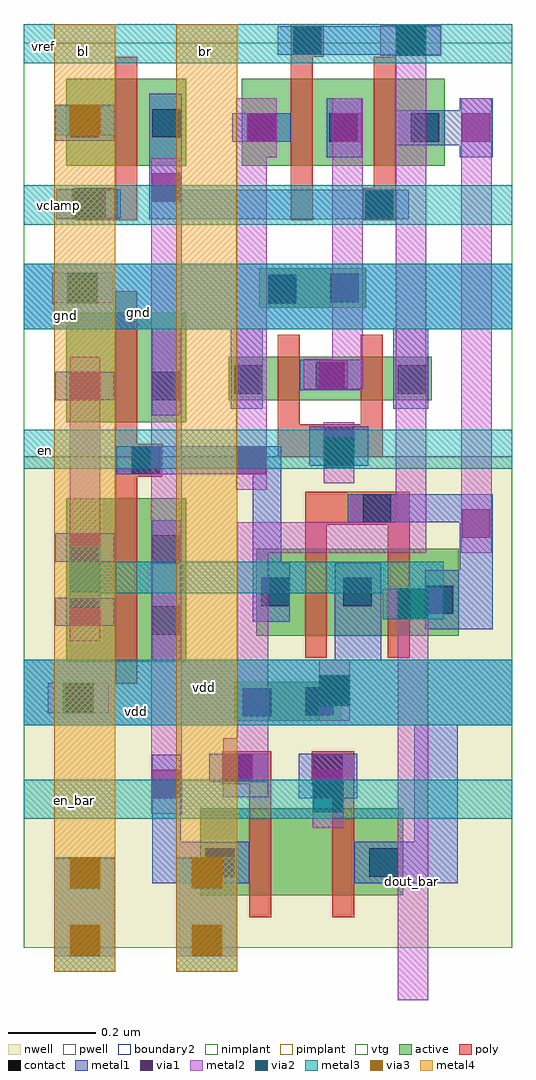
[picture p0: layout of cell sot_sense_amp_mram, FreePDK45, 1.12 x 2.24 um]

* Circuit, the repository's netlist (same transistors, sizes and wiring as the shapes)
************************************************************************
* auCdl Netlist:
* 
* Library Name:  openram_sot
* Top Cell Name: sot_sense_amp_mram
* View Name:     schematic
* Netlisted on:  Apr  6 03:05:37 2021
************************************************************************

*.EQUATION
*.SCALE METER
*.MEGA
.PARAM



************************************************************************
* Library Name: openram_sot
* Cell Name:    sot_sense_amp_mram
* View Name:    schematic
************************************************************************

.SUBCKT sot_sense_amp_mram bl br dout_bar en en_bar gnd vclamp vdd vref
MM5 vdata vclamp bl gnd NMOS_VTG W=200n L=50n m=1
MM9 net10 en gnd gnd NMOS_VTG W=200n L=50n m=1
MM10 net11 vdata net10 gnd NMOS_VTG W=200n L=50n m=1
MM8 dout vref net10 gnd NMOS_VTG W=200n L=50n m=1
MM12 dout_bar dout gnd gnd NMOS_VTG W=250.0n L=50n m=1
MM4 vdata vref net18 vdd PMOS_VTG W=200n L=50n m=1
MM1 net18 en_bar vdd vdd PMOS_VTG W=200n L=50n m=1
MM11 dout_bar dout vdd vdd PMOS_VTG W=375.00n L=50n m=1
MM7 net11 net11 vdd vdd PMOS_VTG W=200n L=50n m=1
MM6 dout net11 vdd vdd PMOS_VTG W=200n L=50n m=1
.ENDS

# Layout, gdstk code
from math import pi, radians
import gdstk
lib = gdstk.Library(unit=1e-6, precision=5e-10)
def R(c, l, rs):  # rectangles x0, y0, x1, y1
    for r in rs: c.add(gdstk.rectangle(r[:2], r[2:], *l))
def A(c, l, x, y, w, h, nx, ny, dx, dy):  # array of equal rectangles
    R(c, l, [(x+i*dx, y+j*dy, x+i*dx+w, y+j*dy+h) for i in range(nx) for j in range(ny)])
active = (1, 0)
pwell = (2, 0)
nwell = (3, 0)
nimplant = (4, 0)
pimplant = (5, 0)
vtg = (6, 0)
poly = (9, 0)
contact = (10, 0)
metal1 = (11, 0)
via1 = (12, 0)
metal2 = (13, 0)
via2 = (14, 0)
metal3 = (15, 0)
via3 = (16, 0)
metal4 = (17, 0)
boundary2 = (239, 0)

m4_m3_cdns_619144630790 = lib.new_cell('M4_M3_CDNS_619144630790')
R(m4_m3_cdns_619144630790, metal3, [(-0.1125,-0.07,0.1125,0.07)])
R(m4_m3_cdns_619144630790, via3, [(-0.1125,-0.035,-0.0425,0.035), (0.0425,-0.035,0.1125,0.035)])
R(m4_m3_cdns_619144630790, metal4, [(-0.1125,-0.07,0.1125,0.07)])

m1_poly_cdns_61914463079 = lib.new_cell('M1_POLY_CDNS_619144630791')
R(m1_poly_cdns_61914463079, poly, [(-0.0375,-0.0375,0.0375,0.0375)])
R(m1_poly_cdns_61914463079, contact, [(-0.0325,-0.0325,0.0325,0.0325)])
R(m1_poly_cdns_61914463079, metal1, [(-0.0325,-0.0675,0.0325,0.0675)])

m2_m1_cdns_619144630792 = lib.new_cell('M2_M1_CDNS_619144630792')
R(m2_m1_cdns_619144630792, metal1, [(-0.0325,-0.0675,0.0325,0.0675)])
R(m2_m1_cdns_619144630792, via1, [(-0.0325,-0.0325,0.0325,0.0325)])
R(m2_m1_cdns_619144630792, metal2, [(-0.035,-0.0675,0.035,0.0675)])

m3_m2_cdns_619144630793 = lib.new_cell('M3_M2_CDNS_619144630793')
R(m3_m2_cdns_619144630793, metal2, [(-0.035,-0.07,0.035,0.07)])
R(m3_m2_cdns_619144630793, via2, [(-0.035,-0.035,0.035,0.035)])
R(m3_m2_cdns_619144630793, metal3, [(-0.035,-0.07,0.035,0.07)])

m2_m1_cdns_619144630794 = lib.new_cell('M2_M1_CDNS_619144630794')
R(m2_m1_cdns_619144630794, metal1, [(-0.0325,-0.0675,0.0325,0.0675)])
R(m2_m1_cdns_619144630794, via1, [(-0.0325,-0.0325,0.0325,0.0325)])
R(m2_m1_cdns_619144630794, metal2, [(-0.0675,-0.035,0.0675,0.035)])

m3_m2_cdns_619144630795 = lib.new_cell('M3_M2_CDNS_619144630795')
R(m3_m2_cdns_619144630795, metal2, [(-0.035,-0.07,0.035,0.07)])
R(m3_m2_cdns_619144630795, via2, [(-0.035,-0.035,0.035,0.035)])
R(m3_m2_cdns_619144630795, metal3, [(-0.07,-0.035,0.07,0.035)])

m4_m3_cdns_619144630796 = lib.new_cell('M4_M3_CDNS_619144630796')
R(m4_m3_cdns_619144630796, metal3, [(-0.035,-0.07,0.035,0.07)])
R(m4_m3_cdns_619144630796, via3, [(-0.035,-0.035,0.035,0.035)])
R(m4_m3_cdns_619144630796, metal4, [(-0.07,-0.07,0.07,0.07)])

m3_m2_cdns_619144630797 = lib.new_cell('M3_M2_CDNS_619144630797')
R(m3_m2_cdns_619144630797, metal2, [(-0.07,-0.1125,0.07,0.1125)])
R(m3_m2_cdns_619144630797, via2, [(-0.035,-0.1125,0.035,-0.0425), (-0.035,0.0425,0.035,0.1125)])
R(m3_m2_cdns_619144630797, metal3, [(-0.07,-0.1125,0.07,0.1125)])

sot_sense_amp_mram = lib.new_cell('sot_sense_amp_mram')
R(sot_sense_amp_mram, active, [(0.405,0.12,0.87,0.32), (0.4825,0.52,0.7275,0.61), (0.0975,0.655,0.3725,1.03), (0.5325,0.715,0.9975,0.915), (0.0975,1.205,0.3725,1.455), (0.47,1.255,0.935,1.355), (0.54,1.4675,0.785,1.5575), (0.0975,1.7925,0.3725,1.9925), (0.5,1.7925,0.965,1.9925)])
R(sot_sense_amp_mram, pwell, [(0,1.125,1.12,2.075)])
R(sot_sense_amp_mram, nwell, [(0,0,1.12,1.125)])
R(sot_sense_amp_mram, nimplant, [(0.4825,0.52,0.7275,0.61), (0.0975,1.205,0.3725,1.455), (0.47,1.255,0.935,1.355), (0.0975,1.7925,0.3725,1.9925), (0.5,1.7925,0.965,1.9925)])
R(sot_sense_amp_mram, pimplant, [(0.405,0.12,0.87,0.32), (0.0975,0.655,0.3725,1.03), (0.5325,0.715,0.9975,0.915), (0.54,1.4675,0.785,1.5575)])
R(sot_sense_amp_mram, vtg, [(0,0,1.12,2.075)])
R(sot_sense_amp_mram, poly, [(0.5175,0.07,0.5675,0.45), (0.7075,0.07,0.7575,0.45), (0.455,0.375,0.53,0.45), (0.66,0.375,0.735,0.45), (0.21,0.605,0.26,1.505), (0.645,0.665,0.695,1.0325), (0.835,0.665,0.885,1.0325), (0.645,0.97,0.885,1.045), (0.5825,1.125,0.8225,1.2), (0.5825,1.1375,0.6325,1.405), (0.7725,1.1375,0.8225,1.405), (0.1175,1.6675,0.23,1.7425), (0.21,1.6675,0.26,2.0425), (0.6125,1.6675,0.6625,2.1175), (0.7775,1.6675,0.8525,1.7425), (0.8025,1.6675,0.8525,2.0425), (0.6125,2.0425,0.6875,2.1175)])
A(sot_sense_amp_mram, contact, 0.5125, 1.8475, 0.065, 0.065, 3, 1, 0.1875, 0)
R(sot_sense_amp_mram, contact, [(0.4175,0.1625,0.4825,0.2275), (0.7925,0.1625,0.8575,0.2275), (0.46,0.38,0.525,0.445), (0.665,0.38,0.73,0.445), (0.5025,0.53,0.5675,0.595), (0.645,0.5325,0.71,0.5975), (0.295,0.7175,0.36,0.7825), (0.1075,0.7375,0.1725,0.8025), (0.92,0.765,0.985,0.83), (0.545,0.7825,0.61,0.8475), (0.7325,0.7825,0.7975,0.8475), (0.295,0.88,0.36,0.945), (0.1075,0.885,0.1725,0.95), (0.7775,0.975,0.8425,1.04), (0.69,1.13,0.755,1.195), (0.1075,1.255,0.1725,1.32), (0.295,1.255,0.36,1.32), (0.4825,1.27,0.5475,1.335), (0.8575,1.27,0.9225,1.335), (0.67,1.2775,0.735,1.3425), (0.56,1.4775,0.625,1.5425), (0.7025,1.48,0.7675,1.545), (0.1225,1.6725,0.1875,1.7375), (0.7825,1.6725,0.8475,1.7375), (0.1075,1.8575,0.1725,1.9225), (0.295,1.8575,0.36,1.9225), (0.6175,2.0475,0.6825,2.1125)])
R(sot_sense_amp_mram, metal1, [(0.295,0.1475,0.5175,0.2425), (0.7575,0.1475,0.965,0.2425), (0.895,0.1475,0.995,0.625), (0.295,0.1875,0.36,0.3225), (0.425,0.38,0.56,0.445), (0.63,0.38,0.765,0.445), (0,0.51,1.12,0.66), (0.295,0.56,0.36,0.98), (0.7125,0.585,0.82,0.8825), (0.92,0.73,1.075,0.865), (0.0725,0.7375,0.2075,0.8025), (0.525,0.7475,0.61,0.8825), (0.525,0.7475,0.59,1.15), (1,0.7475,1.075,1.04), (0.0725,0.885,0.2075,0.95), (0.7425,0.975,1.0725,1.04), (0.2925,1.085,0.475,1.15), (0.655,1.13,0.79,1.195), (0.295,1.22,0.36,1.48), (0.475,1.235,0.5475,1.5), (0.8475,1.235,0.9275,1.5), (0.0725,1.255,0.2075,1.32), (0.6325,1.2775,0.77,1.3475), (0,1.4175,1.12,1.5675), (0.2875,1.67,0.3625,1.9575), (0.295,1.67,0.8825,1.7375), (0.1025,1.6725,0.2225,1.7375), (0.695,1.8125,0.77,1.9475), (1,1.8125,1.075,1.9475), (0.8525,1.84,1.0225,1.92), (0.0725,1.85,0.2075,1.93), (0.5825,2.0475,0.955,2.1125)])
R(sot_sense_amp_mram, metal2, [(0.8575,-0.12,0.9275,0.8225), (0.2925,0.3075,0.3625,1.7425), (0.49,0.345,0.56,0.975), (0.105,0.7025,0.175,1.355), (0.5075,0.905,0.9225,0.975), (0.8525,0.905,0.9225,2.09), (1.0025,0.905,1.0725,1.9475), (0.4875,1.0825,0.5575,1.9475), (0.7075,1.3,0.7775,1.9475)])
R(sot_sense_amp_mram, metal3, [(0.07,-0.055,0.21,0.205), (0.35,-0.055,0.49,0.205), (0,0.295,1.12,0.385), (0,0.51,1.12,0.66), (0.1075,0.8125,0.9625,0.885), (0,1.0975,1.12,1.1875), (0,1.4175,1.12,1.5675), (0,1.6575,1.12,1.7475), (0,2.0275,1.12,2.1175)])
R(sot_sense_amp_mram, metal4, [(0.07,-0.055,0.21,2.1175), (0.35,-0.055,0.49,2.1175)])
R(sot_sense_amp_mram, boundary2, [(0,0,1.12,2.1175)])
sot_sense_amp_mram.add(gdstk.Reference(m4_m3_cdns_619144630790, (0.14,0.095), rotation=pi/2))
sot_sense_amp_mram.add(gdstk.Reference(m4_m3_cdns_619144630790, (0.42,0.095), rotation=pi/2))
sot_sense_amp_mram.add(gdstk.Reference(m1_poly_cdns_61914463079, (0.28,1.1175), rotation=3*pi/2, x_reflection=True))
sot_sense_amp_mram.add(gdstk.Reference(m2_m1_cdns_619144630792, (1.0375,1.88), x_reflection=True))
sot_sense_amp_mram.add(gdstk.Reference(m2_m1_cdns_619144630792, (0.7425,1.88), x_reflection=True))
sot_sense_amp_mram.add(gdstk.Reference(m2_m1_cdns_619144630792, (0.8875,2.08), rotation=3*pi/2, x_reflection=True))
sot_sense_amp_mram.add(gdstk.Reference(m2_m1_cdns_619144630792, (0.14,1.8975), rotation=3*pi/2, x_reflection=True))
sot_sense_amp_mram.add(gdstk.Reference(m2_m1_cdns_619144630792, (0.3275,1.7425), x_reflection=True))
sot_sense_amp_mram.add(gdstk.Reference(m2_m1_cdns_619144630792, (0.71,1.315), rotation=3*pi/2, x_reflection=True))
sot_sense_amp_mram.add(gdstk.Reference(m2_m1_cdns_619144630792, (0.1425,1.705), rotation=pi/2))
sot_sense_amp_mram.add(gdstk.Reference(m2_m1_cdns_619144630792, (0.135,1.5125), rotation=3*pi/2, x_reflection=True))
sot_sense_amp_mram.add(gdstk.Reference(m2_m1_cdns_619144630792, (0.1275,0.5725), rotation=pi/2))
sot_sense_amp_mram.add(gdstk.Reference(m2_m1_cdns_619144630792, (0.7125,0.5925), rotation=pi))
sot_sense_amp_mram.add(gdstk.Reference(m2_m1_cdns_619144630792, (0.3275,0.375)))
sot_sense_amp_mram.add(gdstk.Reference(m2_m1_cdns_619144630792, (1.0375,0.9725), x_reflection=True))
sot_sense_amp_mram.add(gdstk.Reference(m3_m2_cdns_619144630793, (0.8875,2.08), rotation=pi/2, x_reflection=True))
sot_sense_amp_mram.add(gdstk.Reference(m3_m2_cdns_619144630793, (0.14,1.8975), rotation=3*pi/2, x_reflection=True))
sot_sense_amp_mram.add(gdstk.Reference(m3_m2_cdns_619144630793, (0.145,1.705), rotation=pi/2))
sot_sense_amp_mram.add(gdstk.Reference(m3_m2_cdns_619144630793, (0.135,1.5125), rotation=3*pi/2, x_reflection=True))
sot_sense_amp_mram.add(gdstk.Reference(m3_m2_cdns_619144630793, (0.14,0.85)))
sot_sense_amp_mram.add(gdstk.Reference(m3_m2_cdns_619144630793, (0.8925,0.7875), rotation=pi/2))
sot_sense_amp_mram.add(gdstk.Reference(m3_m2_cdns_619144630793, (0.7125,0.59)))
sot_sense_amp_mram.add(gdstk.Reference(m3_m2_cdns_619144630793, (0.125,0.5725), rotation=pi/2))
sot_sense_amp_mram.add(gdstk.Reference(m2_m1_cdns_619144630794, (0.545,1.88), rotation=3*pi/2, x_reflection=True))
sot_sense_amp_mram.add(gdstk.Reference(m2_m1_cdns_619144630794, (0.6975,0.375), rotation=3*pi/2, x_reflection=True))
sot_sense_amp_mram.add(gdstk.Reference(m2_m1_cdns_619144630794, (0.14,0.77), rotation=3*pi/2, x_reflection=True))
sot_sense_amp_mram.add(gdstk.Reference(m2_m1_cdns_619144630794, (0.5225,1.1175), rotation=3*pi/2, x_reflection=True))
sot_sense_amp_mram.add(gdstk.Reference(m2_m1_cdns_619144630794, (0.14,0.9175), rotation=3*pi/2, x_reflection=True))
sot_sense_amp_mram.add(gdstk.Reference(m2_m1_cdns_619144630794, (0.14,1.2875), rotation=3*pi/2, x_reflection=True))
sot_sense_amp_mram.add(gdstk.Reference(m2_m1_cdns_619144630794, (0.7225,1.1375), rotation=3*pi/2, x_reflection=True))
sot_sense_amp_mram.add(gdstk.Reference(m2_m1_cdns_619144630794, (0.4925,0.4125), rotation=3*pi/2, x_reflection=True))
sot_sense_amp_mram.add(gdstk.Reference(m3_m2_cdns_619144630795, (0.6975,0.345), x_reflection=True))
sot_sense_amp_mram.add(gdstk.Reference(m3_m2_cdns_619144630795, (0.7225,1.135), x_reflection=True))
sot_sense_amp_mram.add(gdstk.Reference(m4_m3_cdns_619144630796, (0.14,1.8975), rotation=3*pi/2, x_reflection=True))
sot_sense_amp_mram.add(gdstk.Reference(m3_m2_cdns_619144630797, (0.14,0.0925)))
sot_sense_amp_mram.add(gdstk.Reference(m3_m2_cdns_619144630797, (0.42,0.0925)))
sot_sense_amp_mram.add(gdstk.Label('vdd', (0.2575,0.5425), layer=11, texttype=0))
sot_sense_amp_mram.add(gdstk.Label('gnd', (0.095,1.45), layer=11, texttype=0))
sot_sense_amp_mram.add(gdstk.Label('dout_bar', (0.89,0.1525), layer=13, texttype=0))
sot_sense_amp_mram.add(gdstk.Label('en', (0.05,1.14), layer=15, texttype=0))
sot_sense_amp_mram.add(gdstk.Label('vclamp', (0.08,1.7025), layer=15, texttype=0))
sot_sense_amp_mram.add(gdstk.Label('vdd', (0.415,0.5975), layer=15, texttype=0))
sot_sense_amp_mram.add(gdstk.Label('vref', (0.045,2.065), layer=15, texttype=0))
sot_sense_amp_mram.add(gdstk.Label('gnd', (0.2625,1.455), layer=15, texttype=0))
sot_sense_amp_mram.add(gdstk.Label('en_bar', (0.1175,0.3375), layer=15, texttype=0))
sot_sense_amp_mram.add(gdstk.Label('bl', (0.1375,2.055), layer=17, texttype=0))
sot_sense_amp_mram.add(gdstk.Label('br', (0.4175,2.055), layer=17, texttype=0))

lib.write_gds('sot_sense_amp_mram.gds')
